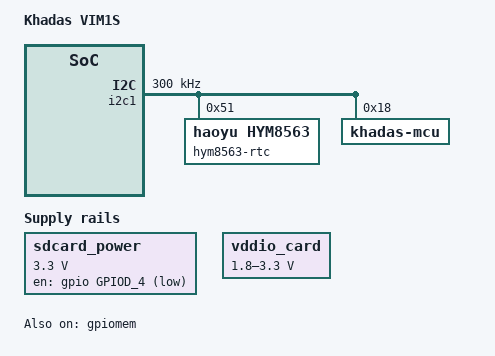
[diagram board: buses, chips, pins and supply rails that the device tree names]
#include "s4_s905y4_ap222_linux.dts"
#include "coreelec_s4_common.dtsi"

/ {
	model = "Khadas VIM1S";
	coreelec-dt-id = "s4_s905y4_khadas_vim1s";

	memory@00000000 {
		linux,usable-memory = <0x0 0x0 0x0 0x80000000>;
	};

	gpio_keypad {
		key-gpios = <&gpio GPIOD_8 GPIO_ACTIVE_LOW>;
	};

	gpioleds {
		sys_led {
			label = "sys_led";
			gpios = <&gpio GPIOD_11 GPIO_ACTIVE_HIGH>;
			linux,default-trigger = "default-on";
		};
	};

	gpiomem {
		compatible = "amlogic, gpiomem";
		reg = <0x0 0xfe004000 0x0 0x1000>;
		status = "okay";
	};

	sdcard_power: regulator-sdcard {
		compatible = "regulator-fixed";
		regulator-name = "SDCARD_POWER";
		regulator-min-microvolt = <3300000>;
		regulator-max-microvolt = <3300000>;
		gpio = <&gpio GPIOD_4 GPIO_ACTIVE_LOW>;
		enable-active-low;
		regulator-always-on;
	};

	vddio_card: gpio-regulator {
		compatible = "regulator-gpio";
		regulator-name = "VDDIO_CARD";
		regulator-min-microvolt = <1800000>;
		regulator-max-microvolt = <3300000>;
		gpios = <&gpio GPIOD_9 GPIO_ACTIVE_HIGH>;
		gpios-states = <1>;
		states = <1800000 1 3300000 0>;
	};

	onewire: onewire {
		compatible = "w1-gpio";
		gpios = <&gpio GPIOZ_8 GPIO_ACTIVE_HIGH>;
		status = "disabled";
	};

	/delete-node/ dvb-extern;
	/delete-node/ dvb-demux;
	/delete-node/ aml_dtv_demod;
	/delete-node/ adc_keypad;
};

&i2c1 {
	status = "okay";
	pinctrl-names = "default";
	pinctrl-0 = <&i2c1_pins2>;
	clock-frequency = <300000>; /* default 100k */

	hym8563-rtc@51 {
		compatible = "haoyu,hym8563";
		reg = <0x51>;
	};

	khadas-mcu@18 {
		compatible = "khadas-mcu";
		reg = <0x18>;
		fan,trig_temp_level0 = <50>;
		fan,trig_temp_level1 = <60>;
		fan,trig_temp_level2 = <70>;
		fan,trig_temp_level3 = <80>;
		hwver = "VIM1S.V10"; /* Will be updated in uboot. */
	};

	tlc59116: tlc59116@60 {
		status = "disabled";
	};
};

&vrtc {
	status = "disabled";
};

&usb3_phy_v2 {
	otg = <1>;
};

&i2c4 {
	status = "disabled";
};

&aml_bt {
	power_down_disable = <1>;
};

&sd_emmc_b {
	cap-sd-highspeed;
	sd-uhs-sdr12;
	sd-uhs-sdr25;
	sd-uhs-sdr50;
	sd-uhs-sdr104;

	//vmmc-supply = <&vddao_3v3>;
	vqmmc-supply = <&vddio_card>;
};

&dwc2_a {
	/** 0: normal, 1: otg+dwc3 host only, 2: otg+dwc3 device only*/
	controller-type = <2>;
};
